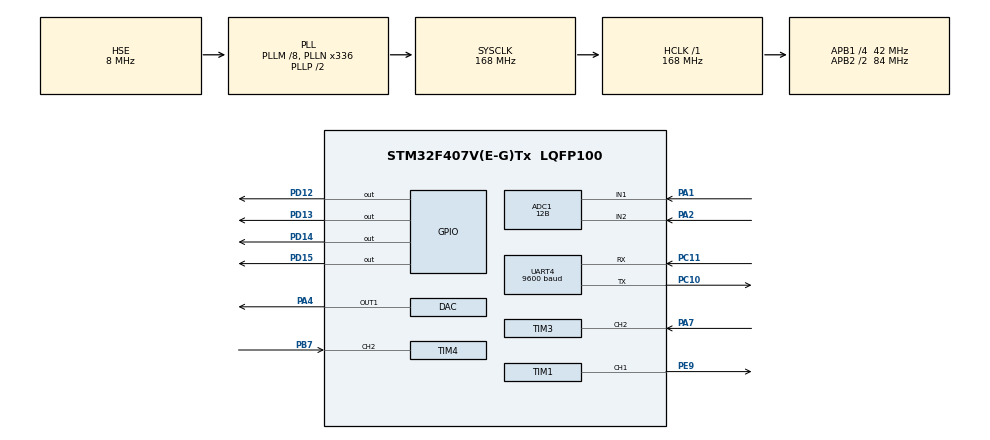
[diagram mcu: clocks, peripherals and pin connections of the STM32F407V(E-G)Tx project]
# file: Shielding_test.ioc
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ADC1.Channel-10\#ChannelRegularConversion=ADC_CHANNEL_1
ADC1.Channel-9\#ChannelRegularConversion=ADC_CHANNEL_2
ADC1.ClockPrescaler=ADC_CLOCK_SYNC_PCLK_DIV4
ADC1.ContinuousConvMode=ENABLE
ADC1.DMAContinuousRequests=ENABLE
ADC1.DataAlign=ADC_DATAALIGN_RIGHT
ADC1.DiscontinuousConvMode=DISABLE
ADC1.EOCSelection=ADC_EOC_SINGLE_CONV
ADC1.EnableAnalogWatchDog=false
ADC1.ExternalTrigConvEdge=ADC_EXTERNALTRIGCONVEDGE_NONE
ADC1.InjNumberOfConversion=0
ADC1.NbrOfConversion=2
ADC1.NbrOfConversionFlag=1
ADC1.Rank-10\#ChannelRegularConversion=2
ADC1.Rank-9\#ChannelRegularConversion=1
ADC1.Resolution=ADC_RESOLUTION_12B
ADC1.SamplingTime-10\#ChannelRegularConversion=ADC_SAMPLETIME_3CYCLES
ADC1.SamplingTime-9\#ChannelRegularConversion=ADC_SAMPLETIME_3CYCLES
ADC1.ScanConvMode=ENABLE
ADC1.master=1
DAC.DAC_Trigger=DAC_TRIGGER_SOFTWARE
Dma.ADC1.0.Direction=DMA_PERIPH_TO_MEMORY
Dma.ADC1.0.FIFOMode=DMA_FIFOMODE_ENABLE
Dma.ADC1.0.FIFOThreshold=DMA_FIFO_THRESHOLD_FULL
Dma.ADC1.0.Instance=DMA2_Stream0
Dma.ADC1.0.MemBurst=DMA_MBURST_SINGLE
Dma.ADC1.0.MemDataAlignment=DMA_MDATAALIGN_WORD
Dma.ADC1.0.MemInc=DMA_MINC_ENABLE
Dma.ADC1.0.Mode=DMA_CIRCULAR
Dma.ADC1.0.PeriphBurst=DMA_PBURST_SINGLE
Dma.ADC1.0.PeriphDataAlignment=DMA_PDATAALIGN_WORD
Dma.ADC1.0.PeriphInc=DMA_PINC_DISABLE
Dma.ADC1.0.Priority=DMA_PRIORITY_LOW
Dma.Request0=ADC1
Mcu.Family=STM32F4
Mcu.Name=STM32F407V(E-G)Tx
Mcu.Package=LQFP100
NVIC.DMA2_Stream0_IRQn=true\:0\:0\:false\:false\:true
NVIC.PriorityGroup=NVIC_PRIORITYGROUP_4
NVIC.TIM3_IRQn=true\:0\:0\:false\:false\:true
NVIC.TIM4_IRQn=true\:0\:0\:false\:false\:true
NVIC.UART4_IRQn=true\:0\:0\:false\:false\:true
PA1.Signal=ADCx_IN1
PA2.Signal=ADCx_IN2
PA4.Signal=COMP_DAC1_group
PA7.Signal=S_TIM3_CH2
PB7.Signal=S_TIM4_CH2
PC10.Mode=Asynchronous
PC10.Signal=UART4_TX
PC11.Mode=Asynchronous
PC11.Signal=UART4_RX
PD12.Signal=GPIO_Output
PD13.Signal=GPIO_Output
PD14.Signal=GPIO_Output
PD15.Signal=GPIO_Output
PE9.Signal=S_TIM1_CH1
PH0-OSC_IN.Mode=HSE-External-Oscillator
PH0-OSC_IN.Signal=RCC_OSC_IN
PH1-OSC_OUT.Mode=HSE-External-Oscillator
PH1-OSC_OUT.Signal=RCC_OSC_OUT
ProjectManager.HeapSize=0x200
ProjectManager.StackSize=0x400
ProjectManager.TargetToolchain=SW4STM32
RCC.48MHZClocksFreq_Value=42000000
RCC.AHBFreq_Value=168000000
RCC.APB1CLKDivider=RCC_HCLK_DIV4
RCC.APB1Freq_Value=42000000
RCC.APB1TimFreq_Value=84000000
RCC.APB2CLKDivider=RCC_HCLK_DIV2
RCC.APB2Freq_Value=84000000
RCC.APB2TimFreq_Value=168000000
RCC.CortexFreq_Value=168000000
RCC.HCLKFreq_Value=168000000
RCC.HSE_VALUE=8000000
RCC.HSI_VALUE=16000000
RCC.LSE_VALUE=32768
RCC.PLLM=8
RCC.PLLN=336
RCC.PLLQ=8
RCC.PLLSourceVirtual=RCC_PLLSOURCE_HSE
RCC.SYSCLKFreq_VALUE=168000000
RCC.SYSCLKSource=RCC_SYSCLKSOURCE_PLLCLK
RCC.VCOOutputFreq_Value=336000000
SH.ADCx_IN1.0=ADC1_IN1,IN1
SH.ADCx_IN2.0=ADC1_IN2,IN2
SH.COMP_DAC1_group.0=DAC_OUT1,DAC_OUT1
SH.S_TIM1_CH1.0=TIM1_CH1,PWM Generation1 CH1
SH.S_TIM3_CH2.0=TIM3_CH2,PWM_Input_2
SH.S_TIM4_CH2.0=TIM4_CH2,PWM_Input_2
TIM1.Period=12000
TIM1.Prescaler=0
TIM3.Period=65535
TIM3.Prescaler=1000
TIM4.Period=65535
TIM4.Prescaler=1000
UART4.BaudRate=9600
VP_ADC1_Vref_Input.Mode=IN-Vrefint
VP_RNG_VS_RNG.Mode=RNG_Activate
VP_TIM1_VS_ClockSourceINT.Mode=Internal
VP_TIM4_VS_ClockSourceINT.Mode=Internal
board=Shielding_test

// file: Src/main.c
/**
  ******************************************************************************
  * File Name          : main.c
  * Description        : Main program body
  ******************************************************************************
  *
  * COPYRIGHT(c) 2016 STMicroelectronics
  *
  * Redistribution and use in source and binary forms, with or without modification,
  * are permitted provided that the following conditions are met:
  *   1. Redistributions of source code must retain the above copyright notice,
  *      this list of conditions and the following disclaimer.
  *   2. Redistributions in binary form must reproduce the above copyright notice,
  *      this list of conditions and the following disclaimer in the documentation
  *      and/or other materials provided with the distribution.
  *   3. Neither the name of STMicroelectronics nor the names of its contributors
  *      may be used to endorse or promote products derived from this software
  *      without specific prior written permission.
  *
  * THIS SOFTWARE IS PROVIDED BY THE COPYRIGHT HOLDERS AND CONTRIBUTORS "AS IS"
  * AND ANY EXPRESS OR IMPLIED WARRANTIES, INCLUDING, BUT NOT LIMITED TO, THE
  * IMPLIED WARRANTIES OF MERCHANTABILITY AND FITNESS FOR A PARTICULAR PURPOSE ARE
  * DISCLAIMED. IN NO EVENT SHALL THE COPYRIGHT HOLDER OR CONTRIBUTORS BE LIABLE
  * FOR ANY DIRECT, INDIRECT, INCIDENTAL, SPECIAL, EXEMPLARY, OR CONSEQUENTIAL
  * DAMAGES (INCLUDING, BUT NOT LIMITED TO, PROCUREMENT OF SUBSTITUTE GOODS OR
  * SERVICES; LOSS OF USE, DATA, OR PROFITS; OR BUSINESS INTERRUPTION) HOWEVER
  * CAUSED AND ON ANY THEORY OF LIABILITY, WHETHER IN CONTRACT, STRICT LIABILITY,
  * OR TORT (INCLUDING NEGLIGENCE OR OTHERWISE) ARISING IN ANY WAY OUT OF THE USE
  * OF THIS SOFTWARE, EVEN IF ADVISED OF THE POSSIBILITY OF SUCH DAMAGE.
  *
  ******************************************************************************
  */
#include "main.h"
#include "stm32f4xx_hal.h"

/* USER CODE BEGIN Includes */
#include <stdio.h>
/* USER CODE END Includes */

ADC_HandleTypeDef hadc1;
DMA_HandleTypeDef hdma_adc1;

DAC_HandleTypeDef hdac;

RNG_HandleTypeDef hrng;

TIM_HandleTypeDef htim1;
TIM_HandleTypeDef htim3;
TIM_HandleTypeDef htim4;

UART_HandleTypeDef huart4;

/* USER CODE BEGIN PV */
/* Private variables ---------------------------------------------------------*/
int8_t ciao = 0;
uint32_t counter = 0;
uint32_t counter_1 = 0;

int8_t flag = 0;
uint8_t velocita_nulla = 0;

/* USER CODE END PV */

void SystemClock_Config(void);
void Error_Handler(void);
static void MX_GPIO_Init(void);
static void MX_DMA_Init(void);
static void MX_RNG_Init(void);
static void MX_TIM1_Init(void);
static void MX_UART4_Init(void);
static void MX_ADC1_Init(void);
static void MX_TIM4_Init(void);
static void MX_DAC_Init(void);
static void MX_TIM3_Init(void);

void HAL_TIM_MspPostInit(TIM_HandleTypeDef *htim);

/* USER CODE BEGIN PFP */
/* Private function prototypes -----------------------------------------------*/

/* USER CODE END PFP */

int main(void)
{

  /* MCU Configuration----------------------------------------------------------*/

  /* Reset of all peripherals, Initializes the Flash interface and the Systick. */
  HAL_Init();

  /* Configure the system clock */
  SystemClock_Config();

  /* Initialize all configured peripherals */
  MX_GPIO_Init();
  MX_DMA_Init();
  MX_RNG_Init();
  MX_TIM1_Init();
  MX_UART4_Init();
  MX_ADC1_Init();
  MX_TIM4_Init();
  MX_DAC_Init();
  MX_TIM3_Init();

  /* USER CODE BEGIN 2 */

  HAL_TIM_PWM_Start(&htim1, TIM_CHANNEL_1);
  HAL_TIMEx_PWMN_Start(&htim1, TIM_CHANNEL_1);
  HAL_TIM_IC_Start_IT(&htim4, TIM_CHANNEL_2);
  HAL_TIM_IC_Start_IT(&htim3, TIM_CHANNEL_2);

  TIM1->CCR1 = 5*12000/100; // 5% duty cicly
  char pData[] = {0,0,0};

  volatile uint32_t torques[] = {0,0};
  float torque_constant = 30.5; // mNm/A
  float current_sense = 140.0/1000; // V/A
  float duty_1 = 0;
  float frequency = 0;
  float EPM_RPM = 0;
  float torque_EPM = 0;
  float IPM_RPM = 0.02;
  float torque_IPM = 0.01;
  uint32_t set_that = 0;
  uint8_t decine = 0;
  uint8_t unita = 0;
  uint8_t i = 0;

  HAL_UART_Receive_IT(&huart4, &pData, 3);
  //HAL_DAC_Start(&hdac, DAC_CHANNEL_1);
  HAL_ADC_Start_DMA(&hadc1, &torques, 2);

  //printf("%i\n", ciccia);

  /* USER CODE END 2 */

  /* Infinite loop */
  while (1)
  {

  /* USER CODE BEGIN 3 */
	  //HAL_Delay(100);
	 // HAL_GPIO_WritePin(GPIOD, GPIO_PIN_12, GPIO_PIN_SET);
	  //HAL_ADC_Start(&hadc1);
	  //HAL_ADC_PollForConversion(&hadc1, 100);
	  //HAL_ADC_Stop(&hadc1);
	  //torques = HAL_ADCEx_MultiModeGetValue(&hadc1);

			  //HAL_ADC_GetValue(&hadc1);

	  torque_EPM = (((2.938*(torques[0]&0xFFFC)/4096)/current_sense)*torque_constant); // 2.938V were measured at the Inductor L1
	  torque_IPM = torques[1];

	  frequency =  1/((1/84000000.0)*1000.0*counter);
	  EPM_RPM = frequency * 60;

	  frequency =  1/((1/84000000.0)*1000.0*counter_1);
	  IPM_RPM = frequency * 60;

	  EPM_RPM = 100.5;
	  torque_EPM = 15.6;
	  IPM_RPM = 100.5;
	  torque_IPM = 12.4;
	  //printf("motor speed: %.2f\n", EPM_RPM);
	 // HAL_Delay(100);
	  //printf("motor speed: %.2f RPM motor torque: %.2f mNm\r\n%", EPM_RPM, torque_EPM);
	printf("%.2f %.2f %.2f %.2f \n",EPM_RPM,torque_EPM,IPM_RPM,torque_IPM);
	//printf("hello %.2f", 12.5);
	//HAL_UART_Transmit(&huart4, "hello", 5, 100);

	  //printf("%.2f %.2f", EPM_RPM)

	  // if data is received; ciao flag
	  if (ciao == 1)
	  {
		 // HAL_GPIO_WritePin(GPIOD, GPIO_PIN_12, GPIO_PIN_SET);
		  if (pData[0] == '1')
		  	  {
			  decine = (pData[1]-'0') *10;
			  unita = pData[2] -'0';
			  set_that = decine + unita;
			  TIM1->CCR1 = set_that*12000/100;

		  	  }

		  if (pData[0] == '2')
		  	  {
		  		decine = (pData[1]-'0') *10;
		  		unita = pData[2] -'0';
		  		set_that = decine + unita;
		  		HAL_DAC_SetValue(&hdac, DAC_CHANNEL_1, DAC_ALIGN_12B_R, set_that*4096/100);
		  		DAC->SWTRIGR|=DAC_SWTRIGR_SWTRIG1;
		  	  }

		  	  if (pData == '3')
		  	  {
		  		  HAL_GPIO_WritePin(GPIOD, GPIO_PIN_15, GPIO_PIN_SET);
		  		  HAL_Delay(100);
		  		  HAL_GPIO_WritePin(GPIOD, GPIO_PIN_15, GPIO_PIN_RESET);
		  		  HAL_TIMEx_PWMN_Stop(&htim1, TIM_CHANNEL_1);
				  HAL_TIM_PWM_Stop(&htim1, TIM_CHANNEL_1);
		  	  }
		  	  if (pData == '4')
		  	  {
		  		  HAL_TIMEx_PWMN_Start(&htim1, TIM_CHANNEL_1);
		  		  HAL_TIM_PWM_Start(&htim1, TIM_CHANNEL_1);
		  		  TIM1->CCR1 = 5*65535/100;
		  	  }

		  ciao = 0;
		  //HAL_GPIO_WritePin(GPIOD, GPIO_PIN_12, GPIO_PIN_RESET);
		  pData[0] = 0;
		  pData[1] = 0;
		  pData[2] = 0;
		  HAL_UART_Receive_IT(&huart4, &pData, 3);

	  }
	  //printf("ADC %f ciao\n", 14.55578);
	  //printf("%i\n", ciccia);

	  //pData=0;

  }
  /* USER CODE END 3 */

}

/** System Clock Configuration
*/
void SystemClock_Config(void)
{

  RCC_OscInitTypeDef RCC_OscInitStruct;
  RCC_ClkInitTypeDef RCC_ClkInitStruct;

    /**Configure the main internal regulator output voltage
    */
  __HAL_RCC_PWR_CLK_ENABLE();

  __HAL_PWR_VOLTAGESCALING_CONFIG(PWR_REGULATOR_VOLTAGE_SCALE1);

    /**Initializes the CPU, AHB and APB busses clocks
    */
  RCC_OscInitStruct.OscillatorType = RCC_OSCILLATORTYPE_HSE;
  RCC_OscInitStruct.HSEState = RCC_HSE_ON;
  RCC_OscInitStruct.PLL.PLLState = RCC_PLL_ON;
  RCC_OscInitStruct.PLL.PLLSource = RCC_PLLSOURCE_HSE;
  RCC_OscInitStruct.PLL.PLLM = 8;
  RCC_OscInitStruct.PLL.PLLN = 336;
  RCC_OscInitStruct.PLL.PLLP = RCC_PLLP_DIV2;
  RCC_OscInitStruct.PLL.PLLQ = 8;
  if (HAL_RCC_OscConfig(&RCC_OscInitStruct) != HAL_OK)
  {
    Error_Handler();
  }

    /**Initializes the CPU, AHB and APB busses clocks
    */
  RCC_ClkInitStruct.ClockType = RCC_CLOCKTYPE_HCLK|RCC_CLOCKTYPE_SYSCLK
                              |RCC_CLOCKTYPE_PCLK1|RCC_CLOCKTYPE_PCLK2;
  RCC_ClkInitStruct.SYSCLKSource = RCC_SYSCLKSOURCE_PLLCLK;
  RCC_ClkInitStruct.AHBCLKDivider = RCC_SYSCLK_DIV1;
  RCC_ClkInitStruct.APB1CLKDivider = RCC_HCLK_DIV4;
  RCC_ClkInitStruct.APB2CLKDivider = RCC_HCLK_DIV2;

  if (HAL_RCC_ClockConfig(&RCC_ClkInitStruct, FLASH_LATENCY_5) != HAL_OK)
  {
    Error_Handler();
  }

    /**Configure the Systick interrupt time
    */
  HAL_SYSTICK_Config(HAL_RCC_GetHCLKFreq()/1000);

    /**Configure the Systick
    */
  HAL_SYSTICK_CLKSourceConfig(SYSTICK_CLKSOURCE_HCLK);

  /* SysTick_IRQn interrupt configuration */
  HAL_NVIC_SetPriority(SysTick_IRQn, 0, 0);
}

/* ADC1 init function */
static void MX_ADC1_Init(void)
{

  ADC_ChannelConfTypeDef sConfig;

    /**Configure the global features of the ADC (Clock, Resolution, Data Alignment and number of conversion)
    */
  hadc1.Instance = ADC1;
  hadc1.Init.ClockPrescaler = ADC_CLOCK_SYNC_PCLK_DIV4;
  hadc1.Init.Resolution = ADC_RESOLUTION_12B;
  hadc1.Init.ScanConvMode = ENABLE;
  hadc1.Init.ContinuousConvMode = ENABLE;
  hadc1.Init.DiscontinuousConvMode = DISABLE;
  hadc1.Init.ExternalTrigConvEdge = ADC_EXTERNALTRIGCONVEDGE_NONE;
  hadc1.Init.DataAlign = ADC_DATAALIGN_RIGHT;
  hadc1.Init.NbrOfConversion = 2;
  hadc1.Init.DMAContinuousRequests = ENABLE;
  hadc1.Init.EOCSelection = ADC_EOC_SINGLE_CONV;
  if (HAL_ADC_Init(&hadc1) != HAL_OK)
  {
    Error_Handler();
  }

    /**Configure for the selected ADC regular channel its corresponding rank in the sequencer and its sample time.
    */
  sConfig.Channel = ADC_CHANNEL_2;
  sConfig.Rank = 1;
  sConfig.SamplingTime = ADC_SAMPLETIME_3CYCLES;
  if (HAL_ADC_ConfigChannel(&hadc1, &sConfig) != HAL_OK)
  {
    Error_Handler();
  }

    /**Configure for the selected ADC regular channel its corresponding rank in the sequencer and its sample time.
    */
  sConfig.Channel = ADC_CHANNEL_1;
  sConfig.Rank = 2;
  if (HAL_ADC_ConfigChannel(&hadc1, &sConfig) != HAL_OK)
  {
    Error_Handler();
  }

}

/* DAC init function */
static void MX_DAC_Init(void)
{

  DAC_ChannelConfTypeDef sConfig;

    /**DAC Initialization
    */
  hdac.Instance = DAC;
  if (HAL_DAC_Init(&hdac) != HAL_OK)
  {
    Error_Handler();
  }

    /**DAC channel OUT1 config
    */
  sConfig.DAC_Trigger = DAC_TRIGGER_SOFTWARE;
  sConfig.DAC_OutputBuffer = DAC_OUTPUTBUFFER_ENABLE;
  if (HAL_DAC_ConfigChannel(&hdac, &sConfig, DAC_CHANNEL_1) != HAL_OK)
  {
    Error_Handler();
  }

}

/* RNG init function */
static void MX_RNG_Init(void)
{

  hrng.Instance = RNG;
  if (HAL_RNG_Init(&hrng) != HAL_OK)
  {
    Error_Handler();
  }

}

/* TIM1 init function */
static void MX_TIM1_Init(void)
{

  TIM_ClockConfigTypeDef sClockSourceConfig;
  TIM_MasterConfigTypeDef sMasterConfig;
  TIM_OC_InitTypeDef sConfigOC;
  TIM_BreakDeadTimeConfigTypeDef sBreakDeadTimeConfig;

  htim1.Instance = TIM1;
  htim1.Init.Prescaler = 0;
  htim1.Init.CounterMode = TIM_COUNTERMODE_UP;
  htim1.Init.Period = 12000;
  htim1.Init.ClockDivision = TIM_CLOCKDIVISION_DIV1;
  htim1.Init.RepetitionCounter = 0;
  if (HAL_TIM_Base_Init(&htim1) != HAL_OK)
  {
    Error_Handler();
  }

  sClockSourceConfig.ClockSource = TIM_CLOCKSOURCE_INTERNAL;
  if (HAL_TIM_ConfigClockSource(&htim1, &sClockSourceConfig) != HAL_OK)
  {
    Error_Handler();
  }

  if (HAL_TIM_PWM_Init(&htim1) != HAL_OK)
  {
    Error_Handler();
  }

  sMasterConfig.MasterOutputTrigger = TIM_TRGO_RESET;
  sMasterConfig.MasterSlaveMode = TIM_MASTERSLAVEMODE_DISABLE;
  if (HAL_TIMEx_MasterConfigSynchronization(&htim1, &sMasterConfig) != HAL_OK)
  {
    Error_Handler();
  }

  sConfigOC.OCMode = TIM_OCMODE_PWM1;
  sConfigOC.Pulse = 0;
  sConfigOC.OCPolarity = TIM_OCPOLARITY_HIGH;
  sConfigOC.OCNPolarity = TIM_OCNPOLARITY_HIGH;
  sConfigOC.OCFastMode = TIM_OCFAST_DISABLE;
  sConfigOC.OCIdleState = TIM_OCIDLESTATE_RESET;
  sConfigOC.OCNIdleState = TIM_OCNIDLESTATE_RESET;
  if (HAL_TIM_PWM_ConfigChannel(&htim1, &sConfigOC, TIM_CHANNEL_1) != HAL_OK)
  {
    Error_Handler();
  }

  sBreakDeadTimeConfig.OffStateRunMode = TIM_OSSR_DISABLE;
  sBreakDeadTimeConfig.OffStateIDLEMode = TIM_OSSI_DISABLE;
  sBreakDeadTimeConfig.LockLevel = TIM_LOCKLEVEL_OFF;
  sBreakDeadTimeConfig.DeadTime = 0;
  sBreakDeadTimeConfig.BreakState = TIM_BREAK_DISABLE;
  sBreakDeadTimeConfig.BreakPolarity = TIM_BREAKPOLARITY_HIGH;
  sBreakDeadTimeConfig.AutomaticOutput = TIM_AUTOMATICOUTPUT_DISABLE;
  if (HAL_TIMEx_ConfigBreakDeadTime(&htim1, &sBreakDeadTimeConfig) != HAL_OK)
  {
    Error_Handler();
  }

  HAL_TIM_MspPostInit(&htim1);

}

/* TIM3 init function */
static void MX_TIM3_Init(void)
{

  TIM_SlaveConfigTypeDef sSlaveConfig;
  TIM_IC_InitTypeDef sConfigIC;
  TIM_MasterConfigTypeDef sMasterConfig;

  htim3.Instance = TIM3;
  htim3.Init.Prescaler = 1000;
  htim3.Init.CounterMode = TIM_COUNTERMODE_UP;
  htim3.Init.Period = 65535;
  htim3.Init.ClockDivision = TIM_CLOCKDIVISION_DIV1;
  if (HAL_TIM_IC_Init(&htim3) != HAL_OK)
  {
    Error_Handler();
  }

  sSlaveConfig.SlaveMode = TIM_SLAVEMODE_RESET;
  sSlaveConfig.InputTrigger = TIM_TS_TI2FP2;
  sSlaveConfig.TriggerPolarity = TIM_INPUTCHANNELPOLARITY_FALLING;
  sSlaveConfig.TriggerPrescaler = TIM_ICPSC_DIV1;
  sSlaveConfig.TriggerFilter = 0;
  if (HAL_TIM_SlaveConfigSynchronization(&htim3, &sSlaveConfig) != HAL_OK)
  {
    Error_Handler();
  }

  sConfigIC.ICPolarity = TIM_INPUTCHANNELPOLARITY_RISING;
  sConfigIC.ICSelection = TIM_ICSELECTION_INDIRECTTI;
  sConfigIC.ICPrescaler = TIM_ICPSC_DIV1;
  sConfigIC.ICFilter = 0;
  if (HAL_TIM_IC_ConfigChannel(&htim3, &sConfigIC, TIM_CHANNEL_1) != HAL_OK)
  {
    Error_Handler();
  }

  sConfigIC.ICPolarity = TIM_INPUTCHANNELPOLARITY_FALLING;
  sConfigIC.ICSelection = TIM_ICSELECTION_DIRECTTI;
  if (HAL_TIM_IC_ConfigChannel(&htim3, &sConfigIC, TIM_CHANNEL_2) != HAL_OK)
  {
    Error_Handler();
  }

  sMasterConfig.MasterOutputTrigger = TIM_TRGO_RESET;
  sMasterConfig.MasterSlaveMode = TIM_MASTERSLAVEMODE_DISABLE;
  if (HAL_TIMEx_MasterConfigSynchronization(&htim3, &sMasterConfig) != HAL_OK)
  {
    Error_Handler();
  }

}

/* TIM4 init function */
static void MX_TIM4_Init(void)
{

  TIM_ClockConfigTypeDef sClockSourceConfig;
  TIM_SlaveConfigTypeDef sSlaveConfig;
  TIM_IC_InitTypeDef sConfigIC;
  TIM_MasterConfigTypeDef sMasterConfig;

  htim4.Instance = TIM4;
  htim4.Init.Prescaler = 1000;
  htim4.Init.CounterMode = TIM_COUNTERMODE_UP;
  htim4.Init.Period = 65535;
  htim4.Init.ClockDivision = TIM_CLOCKDIVISION_DIV1;
  if (HAL_TIM_Base_Init(&htim4) != HAL_OK)
  {
    Error_Handler();
  }

  sClockSourceConfig.ClockSource = TIM_CLOCKSOURCE_INTERNAL;
  if (HAL_TIM_ConfigClockSource(&htim4, &sClockSourceConfig) != HAL_OK)
  {
    Error_Handler();
  }

  if (HAL_TIM_IC_Init(&htim4) != HAL_OK)
  {
    Error_Handler();
  }

  sSlaveConfig.SlaveMode = TIM_SLAVEMODE_RESET;
  sSlaveConfig.InputTrigger = TIM_TS_TI2FP2;
  sSlaveConfig.TriggerPolarity = TIM_INPUTCHANNELPOLARITY_FALLING;
  sSlaveConfig.TriggerPrescaler = TIM_ICPSC_DIV1;
  sSlaveConfig.TriggerFilter = 0;
  if (HAL_TIM_SlaveConfigSynchronization(&htim4, &sSlaveConfig) != HAL_OK)
  {
    Error_Handler();
  }

  sConfigIC.ICPolarity = TIM_INPUTCHANNELPOLARITY_RISING;
  sConfigIC.ICSelection = TIM_ICSELECTION_INDIRECTTI;
  sConfigIC.ICPrescaler = TIM_ICPSC_DIV1;
  sConfigIC.ICFilter = 0;
  if (HAL_TIM_IC_ConfigChannel(&htim4, &sConfigIC, TIM_CHANNEL_1) != HAL_OK)
  {
    Error_Handler();
  }

  sConfigIC.ICPolarity = TIM_INPUTCHANNELPOLARITY_FALLING;
  sConfigIC.ICSelection = TIM_ICSELECTION_DIRECTTI;
  if (HAL_TIM_IC_ConfigChannel(&htim4, &sConfigIC, TIM_CHANNEL_2) != HAL_OK)
  {
    Error_Handler();
  }

  sMasterConfig.MasterOutputTrigger = TIM_TRGO_RESET;
  sMasterConfig.MasterSlaveMode = TIM_MASTERSLAVEMODE_DISABLE;
  if (HAL_TIMEx_MasterConfigSynchronization(&htim4, &sMasterConfig) != HAL_OK)
  {
    Error_Handler();
  }

}

/* UART4 init function */
static void MX_UART4_Init(void)
{

  huart4.Instance = UART4;
  huart4.Init.BaudRate = 9600;
  huart4.Init.WordLength = UART_WORDLENGTH_8B;
  huart4.Init.StopBits = UART_STOPBITS_1;
  huart4.Init.Parity = UART_PARITY_NONE;
  huart4.Init.Mode = UART_MODE_TX_RX;
  huart4.Init.HwFlowCtl = UART_HWCONTROL_NONE;
  huart4.Init.OverSampling = UART_OVERSAMPLING_16;
  if (HAL_UART_Init(&huart4) != HAL_OK)
  {
    Error_Handler();
  }

}

static void MX_DMA_Init(void)
{
  /* DMA controller clock enable */
  __HAL_RCC_DMA2_CLK_ENABLE();

  /* DMA interrupt init */
  /* DMA2_Stream0_IRQn interrupt configuration */
  HAL_NVIC_SetPriority(DMA2_Stream0_IRQn, 0, 0);
  HAL_NVIC_EnableIRQ(DMA2_Stream0_IRQn);

}

/** Configure pins as
        * Analog
        * Input
        * Output
        * EVENT_OUT
        * EXTI
*/
static void MX_GPIO_Init(void)
{

  GPIO_InitTypeDef GPIO_InitStruct;

  /* GPIO Ports Clock Enable */
  __HAL_RCC_GPIOH_CLK_ENABLE();
  __HAL_RCC_GPIOA_CLK_ENABLE();
  __HAL_RCC_GPIOE_CLK_ENABLE();
  __HAL_RCC_GPIOD_CLK_ENABLE();
  __HAL_RCC_GPIOC_CLK_ENABLE();
  __HAL_RCC_GPIOB_CLK_ENABLE();

  /*Configure GPIO pin Output Level */
  HAL_GPIO_WritePin(GPIOD, GPIO_PIN_12|GPIO_PIN_13|GPIO_PIN_14|GPIO_PIN_15, GPIO_PIN_RESET);

  /*Configure GPIO pins : PD12 PD13 PD14 PD15 */
  GPIO_InitStruct.Pin = GPIO_PIN_12|GPIO_PIN_13|GPIO_PIN_14|GPIO_PIN_15;
  GPIO_InitStruct.Mode = GPIO_MODE_OUTPUT_PP;
  GPIO_InitStruct.Pull = GPIO_NOPULL;
  GPIO_InitStruct.Speed = GPIO_SPEED_FREQ_LOW;
  HAL_GPIO_Init(GPIOD, &GPIO_InitStruct);

}

/* USER CODE BEGIN 4 */

void HAL_UART_TxCpltCallback(UART_HandleTypeDef *huart)
{
	HAL_GPIO_WritePin(GPIOD, GPIO_PIN_12, GPIO_PIN_SET);
}

void HAL_TIM_PeriodElapsedCallback(TIM_HandleTypeDef *htim)
{
 velocita_nulla = 1;
}

void HAL_TIM_OC_DelayElapsedCallback(TIM_HandleTypeDef *htim)
{
  velocita_nulla=1;
}

void HAL_TIM_IC_CaptureCallback(TIM_HandleTypeDef *htim)
{
	//HAL_GPIO_TogglePin(GPIOD, GPIO_PIN_12);
	if (htim == &htim4)
	{
		counter = HAL_TIM_ReadCapturedValue(&htim4, TIM_CHANNEL_2);
	}
	if (htim == &htim3)
	{
		counter_1 = HAL_TIM_ReadCapturedValue(&htim3, TIM_CHANNEL_2);
	}

}

void HAL_UART_RxCpltCallback(UART_HandleTypeDef *huart)
{
	ciao = 1;
}

/**
  * @brief  Retargets the C library printf function to the USART.
  * @param  None
  * @retval None
  */
int __io_putchar(int ch)
{
  /* Place your implementation of fputc here */
  /* e.g. write a character to the EVAL_COM1 and Loop until the end of transmission */
  HAL_UART_Transmit(&huart4, (uint8_t *)&ch, 1, 0xFFFF);

  return ch;
}
/* USER CODE END 4 */

void Error_Handler(void)
{
  while(1)
  {
  }
}

/************************ (C) COPYRIGHT STMicroelectronics *****END OF FILE****/
